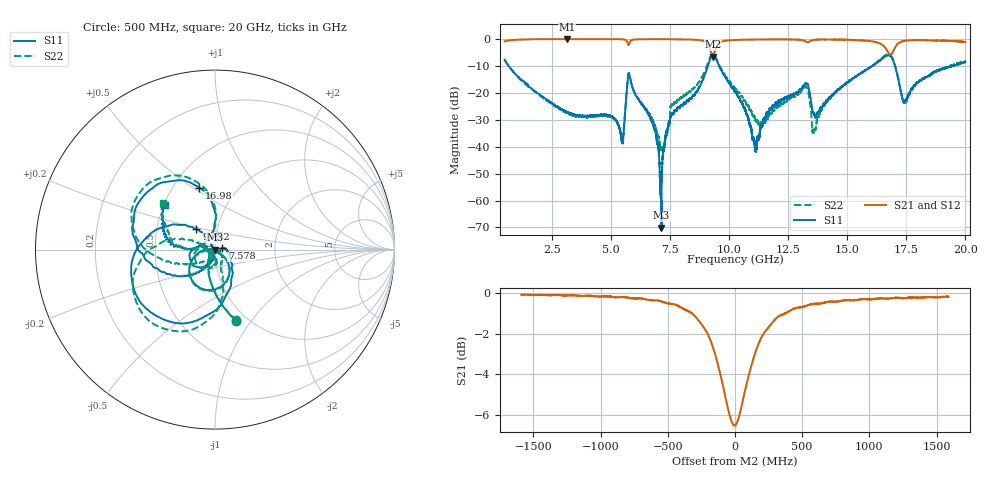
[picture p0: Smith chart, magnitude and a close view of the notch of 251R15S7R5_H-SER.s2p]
!{251R15S7R5}
!Johanson Technology Inc.
!www.johansontechnology.com
!Test Board Conditions:
!Substrate Type  RO4350B
!Substrate Thickness  20 mil
!Substrate Dk  3.66
!TL Type: GCPW
!TL Trace Width  34 mil
!TL Gap  10 mil
!Electrode orientation  Horizontal
!DUT TOPOLOGY	SERIES
!Mounting Pad LxW  26x52 mil
! Created Thu Mar 12 16:44:18 2020
# mhz S ma R 50
! 2 Port Network Data from SP1.SP block
! freq  magS11  angS11  magS21  angS21  magS12  angS12  magS22  angS22
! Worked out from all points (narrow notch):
!   19501 points, 500 MHz to 20 GHz, reference 50 ohm
!   highest |S21| = -0.01 dB at 3.146 GHz (marker M1); lowest = -6.5 dB at 9.313 GHz (marker M2)
!   notch at M2: 6.3 dB deep, 265 MHz wide at half that depth
!   lowest |S11| = -70.1 dB at 7.125 GHz (marker M3), VSWR 1.00, Z = 50 + j0.0143 ohm
!   |S11| at or under -10 dB: 672.8 MHz to 9.099 GHz (8.426 GHz wide, 172 % of centre); 9.583 GHz to 16.05 GHz (6.469 GHz wide, 50.5 % of centre); 17.02 GHz to 19.43 GHz (2.41 GHz wide, 13.2 % of centre)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
!   |S22| runs from -41.8 to -5.3 dB; largest |S21 - S12| = 0.021
!   S11 on the Smith chart (normalised r, x): 500 MHz: 0.89, -0.85; 7.578 GHz: 1.08, +0.02; 9.992 GHz: 0.79, +0.18; 16.98 GHz: 0.67, +0.53; 20 GHz: 0.51, +0.29
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500  0.4126 -73.5  0.9042 17.5  0.905 17.5  0.4107 -73.3
3146  0.04333 -128.8  0.9987 -42.4  0.9975 -42.5  0.0425 -134.4
3750  0.03691 -133.0  0.9975 -52.3  0.9965 -52.2  0.03568 -144.5
5463  0.01225 -118.5  0.9893 -81.1  0.989 -81.1  0.01422 -114.5
5791  0.2098 -129.3  0.8562 -76.8  0.8566 -76.8  0.2138 -129.0
6710  0.0306 175.0  0.9932 -97.2  0.9954 -97.1  0.03461 -172.9
7000  0.01057 173.4  0.9945 -102.0  0.9957 -102.0  0.01587 -161.9
7125  0.0003134 152.8  0.995 -104.1  0.9962 -104.1  0.008894 -131.9
7578  0.04097 10.0  0.9882 -111.8  0.9883 -111.8  0.06064 -45.4
8961  0.2118 -64.8  0.9022 -144.0  0.9031 -144.0  0.2484 -79.0
9313  0.5088 -143.7  0.4737 -134.6  0.4778 -134.6  0.5409 -135.2
9992  0.1529 132.5  0.9479 -138.0  0.9491 -138.1  0.1658 159.7
10250  0.1049 125.8  0.9628 -144.0  0.9633 -144.1  0.1205 157.1
11100  0.0106 -169.9  0.9787 -160.0  0.9783 -160.1  0.03282 -171.8
11787  0.04906 -102.5  0.9853 -171.9  0.9851 -171.8  0.04087 -95.6
13234  0.1515 -144.9  0.9049 161.9  0.9059 161.8  0.1337 -135.7
13500  0.05628 174.1  0.9423 164.2  0.9433 164.2  0.02917 168.2
15873  0.28 -149.6  0.9235 116.4  0.9262 116.3  0.2783 -166.2
16750  0.4986 144.5  0.5542 100.9  0.5423 100.7  0.526 141.5
16981  0.3568 104.4  0.6445 126.4  0.6369 126.8  0.3731 103.0
17432  0.06971 140.0  0.9283 110.1  0.9279 110.0  0.06605 139.1
20000  0.3727 138.7  0.8756 52.0  0.8737 52.0  0.3915 138.0
